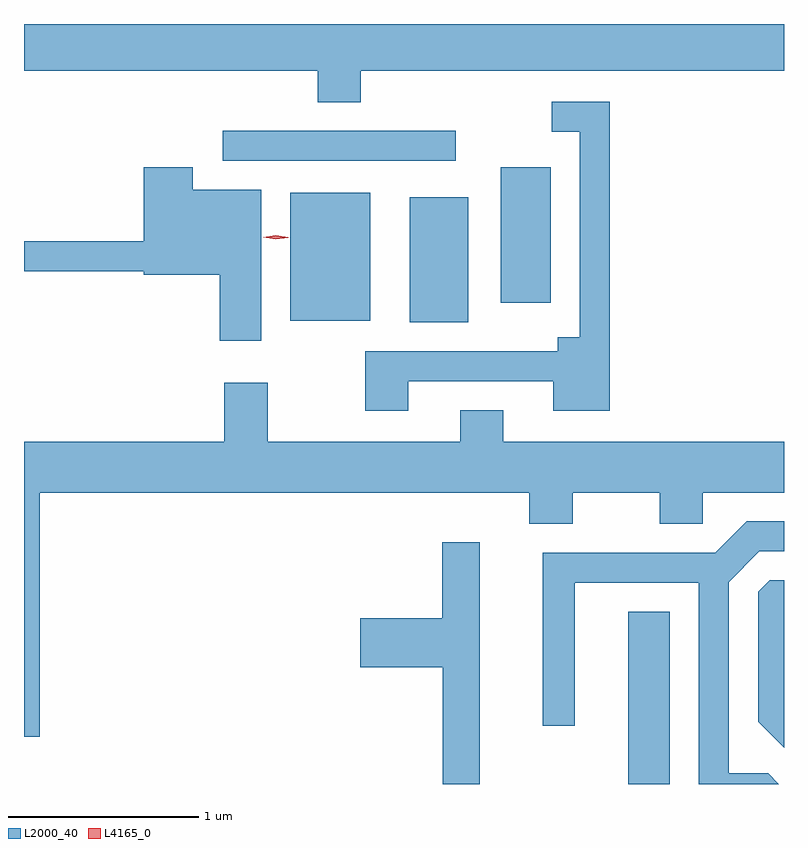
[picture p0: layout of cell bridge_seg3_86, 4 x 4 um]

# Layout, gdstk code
import gdstk
lib = gdstk.Library(unit=1e-6, precision=1e-09)
def R(c, l, rs):  # rectangles x0, y0, x1, y1
    for r in rs: c.add(gdstk.rectangle(r[:2], r[2:], *l))
def P(c, l, *ps):  # polygons
    for p in ps: c.add(gdstk.Polygon(p, *l))
L2000_40 = (2000, 40)
L4165_0 = (4165, 0)

bridge_seg3_86 = lib.new_cell('bridge_seg3_86')
R(bridge_seg3_86, L2000_40, [(1123.576,1179.982,1123.794,1180.889), (1122.426,1182.411,1122.734,1183.069), (1121.796,1182.421,1122.219,1183.094), (1122.906,1182.516,1123.169,1183.229), (1121.443,1183.261,1122.668,1183.419)])
P(bridge_seg3_86, L2000_40, [(1122.169,1183.736),(1124.396,1183.736),(1124.396,1183.982),(1120.396,1183.982),(1120.396,1183.736),(1121.941,1183.736),(1121.941,1183.571),(1122.169,1183.571)],
  [(1122.419,1182.101),(1123.181,1182.101),(1123.181,1181.946),(1123.479,1181.946),(1123.479,1183.574),(1123.173,1183.574),(1123.173,1183.416),(1123.321,1183.416),(1123.321,1182.334),(1123.206,1182.334),(1123.206,1182.259),(1122.191,1182.259),(1122.191,1181.946),(1122.419,1181.946)],
  [(1121.644,1183.109),(1121.284,1183.109),(1121.284,1183.229),(1121.026,1183.229),(1121.026,1182.839),(1120.396,1182.839),(1120.396,1182.681),(1121.026,1182.681),(1121.026,1182.661),(1121.426,1182.661),(1121.426,1182.316),(1121.644,1182.316)],
  [(1120.479,1181.516),(1123.056,1181.516),(1123.056,1181.351),(1123.284,1181.351),(1123.284,1181.516),(1123.741,1181.516),(1123.741,1181.351),(1123.969,1181.351),(1123.969,1181.516),(1124.396,1181.516),(1124.396,1181.784),(1122.919,1181.784),(1122.919,1181.949),(1122.691,1181.949),(1122.691,1181.784),(1121.679,1181.784),(1121.679,1182.094),(1121.451,1182.094),(1121.451,1181.784),(1120.396,1181.784),(1120.396,1180.231),(1120.479,1180.231)],
  [(1124.312,1180.039),(1124.104,1180.039),(1124.104,1181.044),(1124.267,1181.206),(1124.396,1181.206),(1124.396,1181.364),(1124.199,1181.364),(1124.034,1181.199),(1123.126,1181.199),(1123.126,1180.288),(1123.294,1180.288),(1123.294,1181.041),(1123.946,1181.041),(1123.946,1179.982),(1124.369,1179.982)],
  [(1122.794,1181.254),(1122.596,1181.254),(1122.596,1180.854),(1122.166,1180.854),(1122.166,1180.596),(1122.601,1180.596),(1122.601,1179.982),(1122.794,1179.982)],
  [(1124.396,1181.054),(1124.322,1181.054),(1124.261,1180.994),(1124.261,1180.309),(1124.396,1180.174)])
P(bridge_seg3_86, L4165_0, [(1121.72,1182.85),(1121.654,1182.859),(1121.653,1182.86),(1121.654,1182.86),(1121.72,1182.869),(1121.786,1182.86),(1121.786,1182.859),(1121.786,1182.858)])

lib.write_gds('bridge_seg3_86.gds')
